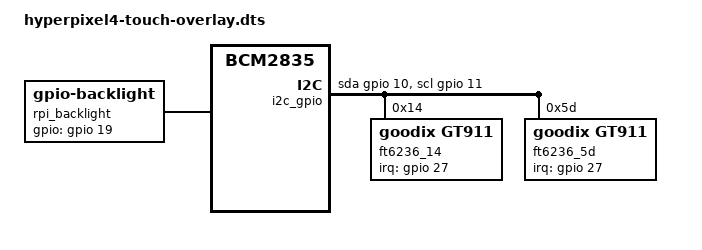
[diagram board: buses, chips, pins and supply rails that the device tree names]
/dts-v1/;
/plugin/;

/ {
    compatible = "brcm,bcm2835";

    fragment@0 {
        target-path = "/";
        __overlay__ {
            rpi_backlight: rpi_backlight {
                compatible = "gpio-backlight";
                gpios = <&gpio 19 0>;
                default-on;
                pinctrl-names = "default";
            };
        };
    };

    fragment@1 {
        target-path = "/";
        __overlay__ {
            i2c_gpio: i2c@0 {
                compatible = "i2c-gpio";
                gpios = <&gpio 10 0 /* sda */
                     &gpio 11 0 /* scl */
                    >;
                i2c-gpio,delay-us = <4>;
                #address-cells = <1>;
                #size-cells = <0>;

                ft6236_14: ft6236@14 {
                    compatible = "goodix,gt911";
                    reg = <0x14>;
                    interrupt-parent = <&gpio>;
                    interrupts = <27 2>;
                    touchscreen-size-x = <480>;
                    touchscreen-size-y = <800>;
                    touchscreen-x-mm = <51>;
                    touchscreen-y-mm = <85>;
                    touchscreen-inverted-y;
                    touchscreen-swapped-x-y;
                };

                ft6236_5d: ft6236@5d {
                    compatible = "goodix,gt911";
                    reg = <0x5d>;
                    interrupt-parent = <&gpio>;
                    interrupts = <27 2>;
                    touchscreen-size-x = <480>;
                    touchscreen-size-y = <800>;
                    touchscreen-x-mm = <51>;
                    touchscreen-y-mm = <85>;
                    touchscreen-inverted-y;
                    touchscreen-swapped-x-y;
                };
            };
        };
    };
};
